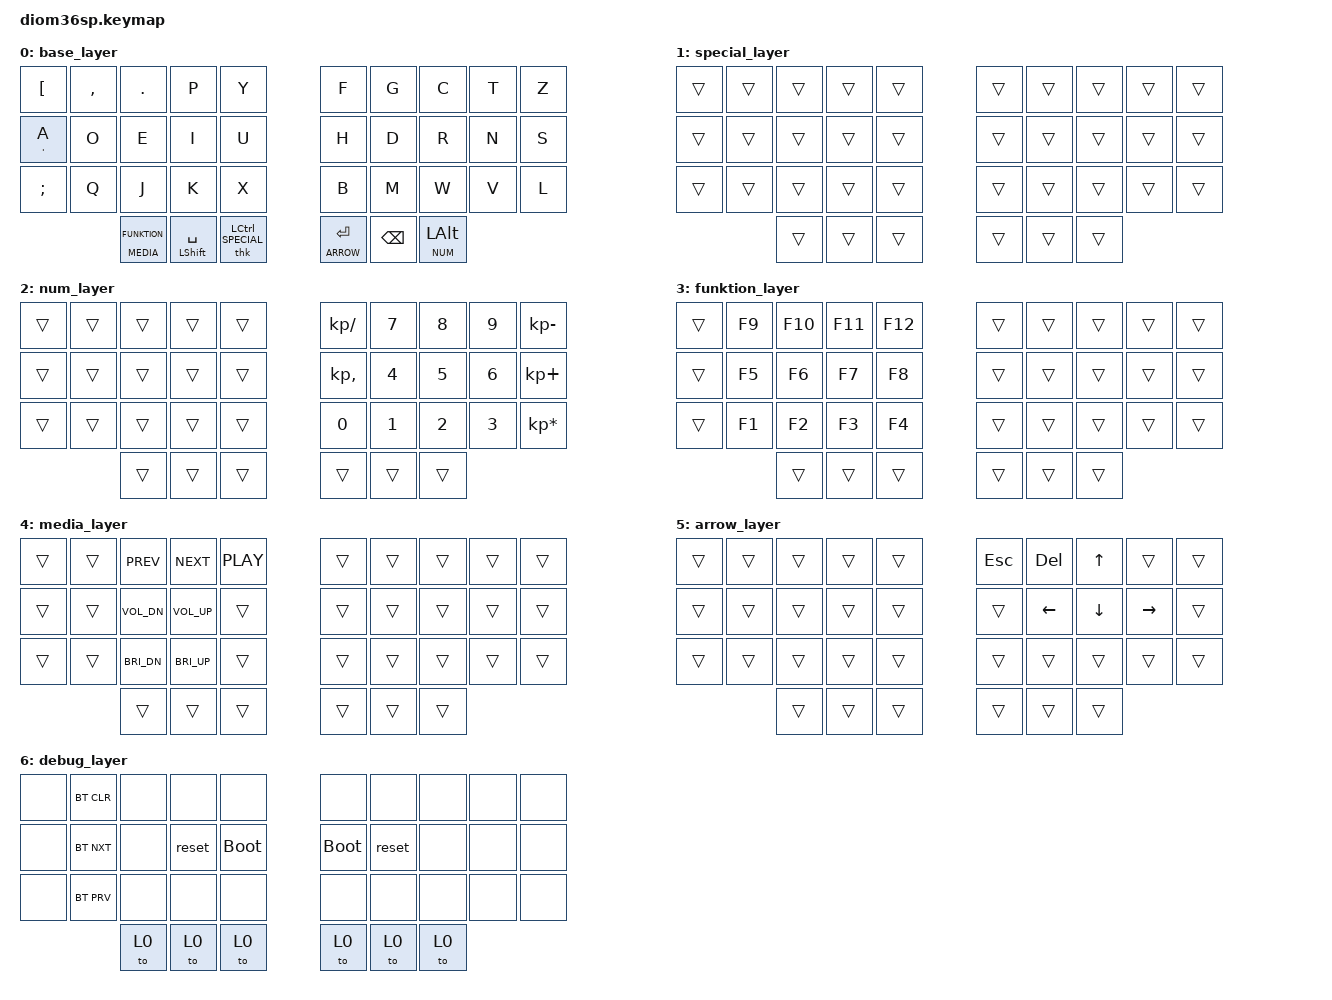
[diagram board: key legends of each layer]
#include <behaviors.dtsi>
#include <dt-bindings/zmk/keys.h>
#include <dt-bindings/zmk/bt.h>

#define BASE        0
#define SPECIAL     1
#define NUM	        2
#define FUNKTION    3
#define MEDIA       4
#define ARROW       5
#define DEBUG       6

/ {

	behaviors {
        thl: tap_hold_layer {
            label = "TAP_HOLD_LAYER";
            compatible = "zmk,behavior-hold-tap";
            #binding-cells = <2>;
            flavor = "hold-preferred";
            tapping-term-ms = <400>;
            quick-tap-ms = <200>;
            bindings= <&mo>, <&tog>;
        };
		tkhl: tap_key_hold_layer {
            label = "TAP_HOLD_KEY";
            compatible = "zmk,behavior-hold-tap";
            #binding-cells = <2>;
            flavor = "hold-preferred";
            tapping-term-ms = <400>;
            quick-tap-ms = <200>;
            bindings= <&kp>, <&tog>;
        };
		tlhk: tap_layer_hold_key {
            label = "TAP_HOLD_KEY";
            compatible = "zmk,behavior-hold-tap";
            #binding-cells = <2>;
            flavor = "hold-preferred";
            tapping-term-ms = <400>;
            quick-tap-ms = <200>;
            bindings= <&tog>, <&kp>;
        };
    };

	keymap {
		compatible = "zmk,keymap";

		base_layer {--
			bindings = <
				&kp LBKT   &kp COMMA  &kp DOT    &kp P      &kp Y      &kp F      &kp G      &kp C      &kp T      &kp Z
				&mt APOS A &kp O      &kp E      &kp I      &kp U      &kp H      &kp D      &kp R      &kp N      &kp S
				&kp SEMI   &kp Q      &kp J      &kp K      &kp X      &kp B      &kp M      &kp W      &kp V      &kp L
				                      &thl MEDIA FUNKTION  &ht_hp LSHIFT SPACE &thk LCTRL SPECIAL  &lt ARROW ENTER  &kp BACKSPACE  &tlhk NUM LEFT_ALT
			>;
		};
		
		special_layer {
			bindings = <
				&trans       &trans       &trans      &trans     &trans     &trans       &trans       &trans      &trans     &trans
				&trans		 &trans       &trans      &trans     &trans		&trans		 &trans       &trans      &trans     &trans
				&trans       &trans       &trans      &trans     &trans     &trans       &trans       &trans      &trans     &trans
				                      &trans      &trans      &trans       &trans       &trans       &trans
			>;
		};

		num_layer {
			bindings = <
				&trans      &trans 	&trans      &trans      &trans       &kp KP_DIVIDE  &kp N7       &kp N8      &kp N9     &kp KP_MINUS
				&trans      &trans 	&trans      &trans      &trans 	  &kp KP_COMMA      &kp N4       &kp N5      &kp N6     &kp KP_PLUS
				&trans      &trans 	&trans      &trans      &trans       &kp N0      	 &kp N1       &kp N2      &kp N3     &kp KP_MULTIPLY
				                      &trans      &trans      &trans       &trans       &trans       &trans
			>;
		};

		funktion_layer {
			bindings = <
				&trans      &kp F9 	&kp F10     &kp F11     &kp F12      &trans       &trans      &trans      &trans     &trans
				&trans      &kp F5	&kp F6      &kp F7      &kp F8 	     &trans 	  	 &trans      &trans      &trans     &trans
				&trans      &kp F1 	&kp F2      &kp F3      &kp F4       &trans       &trans      &trans      &trans     &trans
				                      &trans      &trans      &trans       &trans       &trans       &trans
			>;
		};
		
		media_layer {
			bindings = <
				&trans      &trans &kp C_PREV    &kp C_NEXT      &kp C_PLAY     &trans       &trans       &trans      &trans     &trans
				&trans      &trans &kp C_VOL_DN  &kp C_VOL_UP    &trans 		&trans		 &trans       &trans      &trans     &trans
				&trans      &trans &kp C_BRI_DN  &kp C_BRI_UP    &trans         &trans       &trans       &trans      &trans     &trans
				                      &trans      &trans      &trans       &trans       &trans       &trans
			>;
		};

		arrow_layer {
			bindings = <
				&trans       &trans       &trans      &trans     &trans     &kp ESCAPE   &kp DELETE      &kp UP_ARROW      &trans     		&trans
				&trans		 &trans       &trans      &trans     &trans		&trans		 &kp LEFT_ARROW  &kp DOWN_ARROW    &kp RIGHT_ARROW  &trans
				&trans       &trans       &trans      &trans     &trans     &trans       &trans       &trans      &trans     &trans
				                      &trans      &trans      &trans       &trans       &trans       &trans
			>;
		};
		
		debug_layer {
			bindings = <
				&none      &bt BT_CLR &none      &none      &none       &none       &none       &none      &none     &none
				&none      &bt BT_NXT &none      &reset     &bootloader &bootloader &reset      &none      &none     &none
				&none      &bt BT_PRV &none      &none      &none       &none       &none       &none      &none     &none
				                      &to 0      &to 0      &to 0       &to 0       &to 0       &to 0
			>;
		};


	};
};
